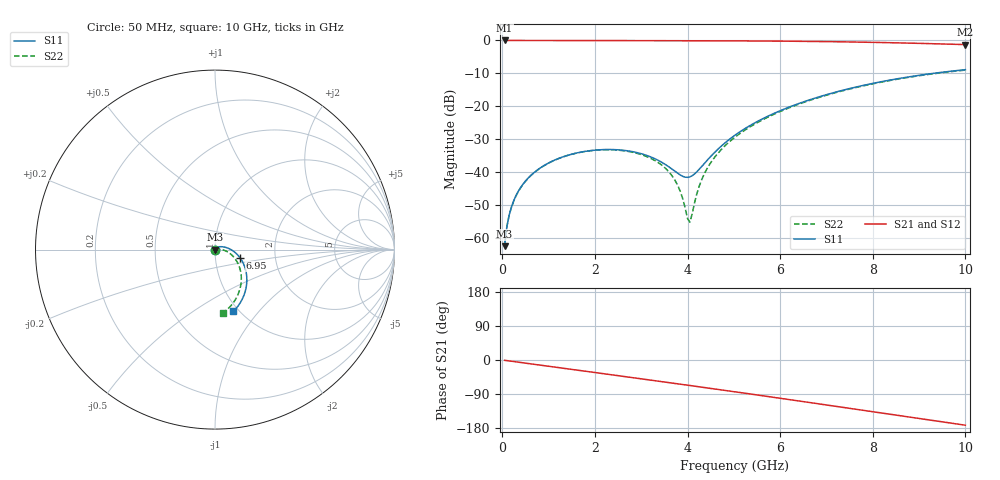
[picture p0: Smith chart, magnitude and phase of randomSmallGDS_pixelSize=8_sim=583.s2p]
! freq	dB(S11)	phase(S11)	dB(S12)	phase(S12)
!  dB(S21)	phase(S21)	dB(S22)	phase(S22)
!S-par simulation data
#  GHz  S  DB  R 50
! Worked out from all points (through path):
!   200 points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, 50 MHz to 10 GHz, reference 50 ohm
!   highest |S21| = 0.00 dB at 50 MHz (marker M1); lowest = -1.3 dB at 10 GHz (marker M2)
!   group delay of S21, straight-line fit = 47.9 ps
!   lowest |S11| = -62.5 dB at 50 MHz (marker M3), VSWR 1.00, Z = 50 - j0.0748 ohm
!   |S11| at or under -10 dB: start of sweep to 9.307 GHz
!   |S22| runs from -62.0 to -9.0 dB; largest |S21 - S12| = 0
!   S11 on the Smith chart (normalised r, x): 50 MHz: 1.00, -0.00; 6.95 GHz: 1.32, -0.12; 10 GHz: 0.94, -0.75
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0.05  -62.52 -89.2  -0.00 -0.8  -0.00 -0.8  -61.98 -95.9
0.1  -56.51 -91.2  -0.00 -1.7  -0.00 -1.7  -56.42 -95.3
0.2  -50.52 -93.7  -0.00 -3.3  -0.00 -3.3  -50.58 -95.4
0.35  -45.73 -96.9  -0.00 -5.8  -0.00 -5.8  -45.81 -97.1
0.5  -42.74 -99.9  -0.01 -8.3  -0.01 -8.3  -42.81 -99.2
1  -37.24 -109.7  -0.02 -16.6  -0.02 -16.6  -37.27 -107.2
1.75  -33.80 -124.5  -0.03 -28.9  -0.03 -28.9  -33.83 -119.3
2.7  -33.53 -146.0  -0.05 -44.6  -0.05 -44.6  -33.68 -133.8
3.4  -36.68 -171.2  -0.06 -56.3  -0.06 -56.3  -37.44 -142.4
3.75  -39.99 160.8  -0.07 -62.2  -0.07 -62.2  -43.02 -141.8
3.85  -40.95 147.1  -0.08 -63.9  -0.08 -63.9  -46.12 -137.4
4  -41.60 120.3  -0.08 -66.4  -0.08 -66.4  -54.10 -100.3
4.05  -41.46 110.6  -0.08 -67.3  -0.08 -67.3  -55.21 -61.6
4.25  -39.20 76.8  -0.09 -70.7  -0.09 -70.7  -44.38 1.0
4.4  -36.81 59.9  -0.09 -73.2  -0.09 -73.2  -39.52 5.5
4.65  -33.13 42.3  -0.11 -77.5  -0.11 -77.5  -34.39 5.4
5.05  -28.54 25.7  -0.13 -84.4  -0.13 -84.4  -29.13 0.9
5.75  -22.92 6.9  -0.18 -96.6  -0.18 -96.6  -23.20 -9.7
6.7  -17.75 -13.2  -0.30 -113.3  -0.30 -113.3  -17.92 -25.5
6.95  -16.68 -18.1  -0.34 -117.8  -0.34 -117.8  -16.84 -29.8
8.35  -12.10 -44.4  -0.67 -142.9  -0.67 -142.9  -12.22 -54.1
10  -8.89 -73.4  -1.26 -172.1  -1.26 -172.1  -9.01 -82.6
